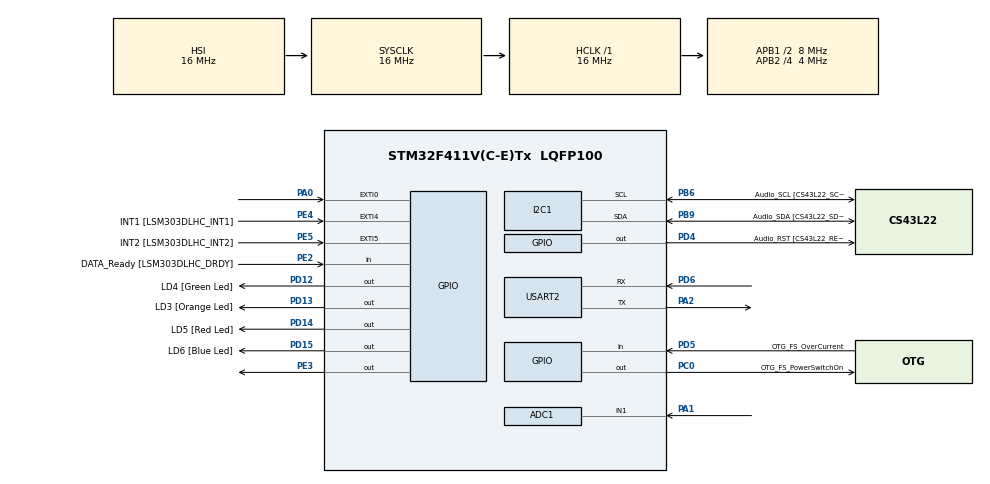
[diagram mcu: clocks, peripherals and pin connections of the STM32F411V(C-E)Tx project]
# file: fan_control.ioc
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ADC1.Channel-0\#ChannelRegularConversion=ADC_CHANNEL_1
ADC1.ContinuousConvMode=DISABLE
ADC1.NbrOfConversionFlag=1
ADC1.Rank-0\#ChannelRegularConversion=1
ADC1.SamplingTime-0\#ChannelRegularConversion=ADC_SAMPLETIME_3CYCLES
ADC1.master=1
Mcu.Family=STM32F4
Mcu.Name=STM32F411V(C-E)Tx
Mcu.Package=LQFP100
NVIC.ADC_IRQn=true\:0\:0\:false\:false\:true\:true\:true\:true
NVIC.PriorityGroup=NVIC_PRIORITYGROUP_0
PA0-WKUP.GPIO_ModeDefaultEXTI=GPIO_MODE_EVT_RISING
PA0-WKUP.Signal=GPXTI0
PA1.Signal=ADCx_IN1
PA10.GPIO_Label=OTG_FS_ID
PA10.Signal=USB_OTG_FS_ID
PA11.GPIO_Label=OTG_FS_DM
PA11.Signal=USB_OTG_FS_DM
PA12.GPIO_Label=OTG_FS_DP
PA12.Signal=USB_OTG_FS_DP
PA13.GPIO_Label=SWDIO
PA13.Mode=Serial_Wire
PA13.Signal=SYS_JTMS-SWDIO
PA14.GPIO_Label=SWCLK
PA14.Mode=Serial_Wire
PA14.Signal=SYS_JTCK-SWCLK
PA2.Mode=Asynchronous
PA2.Signal=USART2_TX
PA4.GPIO_Label=I2S3_WS [CS43L22_LRCK]
PA4.GPIO_Mode=GPIO_MODE_AF_PP
PA4.GPIO_PuPd=GPIO_NOPULL
PA4.GPIO_Speed=GPIO_SPEED_FREQ_LOW
PA4.Signal=I2S3_WS
PA5.GPIO_Label=SPI1_SCK [L3GD20_SC/SPC]
PA5.Signal=SPI1_SCK
PA6.GPIO_Label=SPI1_MISO [L3GD20_AS0/SDO]
PA6.Signal=SPI1_MISO
PA7.GPIO_Label=SPI1_MOSI [L3GD20_SDA/SDI/SDO]
PA7.Signal=SPI1_MOSI
PA9.GPIO_Label=VBUS_FS
PA9.Signal=USB_OTG_FS_VBUS
PB10.GPIO_Label=CLK_IN [MP45DT02_CLK]
PB10.Signal=I2S2_CK
PB12.Signal=I2S2_WS
PB3.GPIO_Label=SWO
PB3.Signal=SYS_JTDO-SWO
PB6.GPIO_Label=Audio_SCL [CS43L22_SCL]
PB6.GPIO_Mode=GPIO_MODE_AF_OD
PB6.GPIO_Pu=GPIO_PULLUP
PB6.GPIO_PuPd=GPIO_NOPULL
PB6.GPIO_Speed=GPIO_SPEED_FREQ_LOW
PB6.Mode=I2C
PB6.Signal=I2C1_SCL
PB9.GPIO_Label=Audio_SDA [CS43L22_SDA]
PB9.GPIO_Mode=GPIO_MODE_AF_OD
PB9.GPIO_Pu=GPIO_PULLUP
PB9.GPIO_PuPd=GPIO_NOPULL
PB9.GPIO_Speed=GPIO_SPEED_FREQ_LOW
PB9.Mode=I2C
PB9.Signal=I2C1_SDA
PC0.GPIO_Label=OTG_FS_PowerSwitchOn
PC0.PinState=GPIO_PIN_SET
PC0.Signal=GPIO_Output
PC10.GPIO_Label=I2S3_SCK [CS43L22_SCLK]
PC10.GPIO_Mode=GPIO_MODE_AF_PP
PC10.GPIO_PuPd=GPIO_NOPULL
PC10.GPIO_Speed=GPIO_SPEED_FREQ_LOW
PC10.Signal=I2S3_CK
PC12.GPIO_Label=I2S3_SD [CS43L22_SDIN]
PC12.GPIO_Mode=GPIO_MODE_AF_PP
PC12.GPIO_PuPd=GPIO_NOPULL
PC12.GPIO_Speed=GPIO_SPEED_FREQ_LOW
PC12.Signal=I2S3_SD
PC14-OSC32_IN.GPIO_Label=PC14-OSC32_IN
PC14-OSC32_IN.Mode=LSE-External-Oscillator
PC14-OSC32_IN.Signal=RCC_OSC32_IN
PC15-OSC32_OUT.GPIO_Label=PC15-OSC32_OUT
PC15-OSC32_OUT.Mode=LSE-External-Oscillator
PC15-OSC32_OUT.Signal=RCC_OSC32_OUT
PC3.GPIO_Label=PDM_OUT [MP45DT02_DOUT]
PC3.Signal=I2S2_SD
PC7.GPIO_Label=I2S3_MCK [CS43L22_MCLK]
PC7.GPIO_Mode=GPIO_MODE_AF_PP
PC7.GPIO_PuPd=GPIO_NOPULL
PC7.GPIO_Speed=GPIO_SPEED_FREQ_LOW
PC7.Signal=I2S3_MCK
PD12.GPIO_Label=LD4 [Green Led]
PD12.GPIO_PuPd=GPIO_NOPULL
PD12.GPIO_Speed=GPIO_SPEED_FREQ_LOW
PD12.Signal=GPIO_Output
PD13.GPIO_Label=LD3 [Orange Led]
PD13.GPIO_PuPd=GPIO_NOPULL
PD13.GPIO_Speed=GPIO_SPEED_FREQ_LOW
PD13.Signal=GPIO_Output
PD14.GPIO_Label=LD5 [Red Led]
PD14.GPIO_PuPd=GPIO_NOPULL
PD14.GPIO_Speed=GPIO_SPEED_FREQ_LOW
PD14.Signal=GPIO_Output
PD15.GPIO_Label=LD6 [Blue Led]
PD15.GPIO_PuPd=GPIO_NOPULL
PD15.GPIO_Speed=GPIO_SPEED_FREQ_LOW
PD15.Signal=GPIO_Output
PD4.GPIO_Label=Audio_RST [CS43L22_RESET]
PD4.Signal=GPIO_Output
PD5.GPIO_Label=OTG_FS_OverCurrent
PD5.Signal=GPIO_Input
PD6.Mode=Asynchronous
PD6.Signal=USART2_RX
PE2.GPIO_Label=DATA_Ready [LSM303DLHC_DRDY]
PE2.Signal=GPIO_Input
PE3.Signal=GPIO_Output
PE4.GPIO_Label=INT1 [LSM303DLHC_INT1]
PE4.GPIO_ModeDefaultEXTI=GPIO_MODE_EVT_RISING
PE4.Signal=GPXTI4
PE5.GPIO_Label=INT2 [LSM303DLHC_INT2]
PE5.GPIO_ModeDefaultEXTI=GPIO_MODE_EVT_RISING
PE5.Signal=GPXTI5
PH0\ -\ OSC_IN.GPIO_Label=PH0-OSC_IN
PH0\ -\ OSC_IN.Mode=HSE-External-Oscillator
PH0\ -\ OSC_IN.Signal=RCC_OSC_IN
PH1\ -\ OSC_OUT.GPIO_Label=PH1-OSC_OUT
PH1\ -\ OSC_OUT.Mode=HSE-External-Oscillator
PH1\ -\ OSC_OUT.Signal=RCC_OSC_OUT
ProjectManager.HeapSize=0x200
ProjectManager.StackSize=0x400
ProjectManager.TargetToolchain=STM32CubeIDE
RCC.48MHZClocksFreq_Value=48000000
RCC.AHBFreq_Value=16000000
RCC.APB1CLKDivider=RCC_HCLK_DIV2
RCC.APB1Freq_Value=8000000
RCC.APB1TimFreq_Value=16000000
RCC.APB2CLKDivider=RCC_HCLK_DIV4
RCC.APB2Freq_Value=4000000
RCC.APB2TimFreq_Value=8000000
RCC.CortexFreq_Value=16000000
RCC.HCLKFreq_Value=16000000
RCC.HSE_VALUE=8000000
RCC.HSI_VALUE=16000000
RCC.PLLI2SM=5
RCC.PLLI2SN=200
RCC.PLLM=4
RCC.PLLP=RCC_PLLP_DIV4
RCC.PLLQ=8
RCC.PLLSourceVirtual=RCC_PLLSOURCE_HSE
RCC.SYSCLKFreq_VALUE=16000000
RCC.VCOOutputFreq_Value=384000000
SH.ADCx_IN1.0=ADC1_IN1,IN1
USART2.VirtualMode=VM_ASYNC
board=STM32F411E-DISCO

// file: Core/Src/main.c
/* USER CODE BEGIN Header */
/**
  ******************************************************************************
  * @file           : main.c
  * @brief          : Main program body
  ******************************************************************************
  * @attention
  *
  * Copyright (c) 2025 STMicroelectronics.
  * All rights reserved.
  *
  * This software is licensed under terms that can be found in the LICENSE file
  * in the root directory of this software component.
  * If no LICENSE file comes with this software, it is provided AS-IS.
  *
  ******************************************************************************
  */
/* USER CODE END Header */
#include "main.h"

/* USER CODE BEGIN Includes */
#include <stdio.h>
#include <stdbool.h>
#include "fan_speed_controller.h"
/* USER CODE END Includes */

/* USER CODE BEGIN PM */
#define DRV10983_ADDR	(0x52 << 1)
#define SPEED_REG 		 0x12 //Just dummy register address
/* USER CODE END PM */

ADC_HandleTypeDef hadc1;

I2C_HandleTypeDef hi2c1;

UART_HandleTypeDef huart2;

/* USER CODE BEGIN PV */
uint16_t AD_RES = 0, adc_values[2];
uint8_t adc_flag = 0, speed = 0;
float adc_volt = 0, power = 0;;
float input_vac = 0, cs_voltage = 0;
uint8_t current_channel = 0;
float expected_power = 0;

/* USER CODE END PV */

void SystemClock_Config(void);
static void MX_GPIO_Init(void);
static void MX_USART2_UART_Init(void);
static void MX_ADC1_Init(void);
static void MX_I2C1_Init(void);
/* USER CODE BEGIN PFP */
#ifdef __GNUC__
#define PUTCHAR_PROTOTYPE int __io_putchar(int ch)
#else
#define PUTCHAR_PROTOTYPE int fputc(int ch, FILE *f)
#endif
PUTCHAR_PROTOTYPE
{
  HAL_UART_Transmit(&huart2, (uint8_t *)&ch, 1, HAL_MAX_DELAY);
  return ch;
}

void send_speed_in_i2c(uint8_t speed)
{
	//I'm just sending dummy data through I2C to a dummy slave and dummy register address because of unavailability of the motor driver module
	HAL_StatusTypeDef status = HAL_I2C_Mem_Write(&hi2c1, DRV10983_ADDR, SPEED_REG, 8, &speed, 1, HAL_MAX_DELAY);
    if (status != HAL_OK) {
        printf("[I2C]Failed to send speed %d to DRV10983 (no ACK)\n", speed);
    }
}
/* USER CODE END PFP */

int main(void)
{

  /* MCU Configuration--------------------------------------------------------*/

  /* Reset of all peripherals, Initializes the Flash interface and the Systick. */
  HAL_Init();

  /* Configure the system clock */
  SystemClock_Config();

  /* Initialize all configured peripherals */
  MX_GPIO_Init();
  MX_USART2_UART_Init();
  MX_ADC1_Init();
  MX_I2C1_Init();
  /* USER CODE BEGIN 2 */
  HAL_ADC_Start_IT(&hadc1);
  /* USER CODE END 2 */

  /* Infinite loop */
  /* USER CODE BEGIN WHILE */
  while (1)
  {
	  if(adc_flag == 1)
	  {
		  printf("The ADC voltage value is %f V\n", adc_volt);
		  printf("The converted AC voltage value is %f Vac\n", input_vac);
		  printf("The controller speed value is %u\n", speed);
		  printf("Expected power output from set speed is %f W\n", expected_power);
		  printf("The current sense voltage is %f V\n", cs_voltage);
		  printf("The mains supply power is %f W\n", power);
		  adc_flag = 0;
		  send_speed_in_i2c(speed);
		  HAL_ADC_Start_IT(&hadc1);
	  }
	  HAL_Delay(100);
    /* USER CODE END WHILE */

  }
}

void SystemClock_Config(void)
{
  RCC_OscInitTypeDef RCC_OscInitStruct = {0};
  RCC_ClkInitTypeDef RCC_ClkInitStruct = {0};

  /** Configure the main internal regulator output voltage
  */
  __HAL_RCC_PWR_CLK_ENABLE();
  __HAL_PWR_VOLTAGESCALING_CONFIG(PWR_REGULATOR_VOLTAGE_SCALE1);

  /** Initializes the RCC Oscillators according to the specified parameters
  * in the RCC_OscInitTypeDef structure.
  */
  RCC_OscInitStruct.OscillatorType = RCC_OSCILLATORTYPE_HSI;
  RCC_OscInitStruct.HSIState = RCC_HSI_ON;
  RCC_OscInitStruct.HSICalibrationValue = RCC_HSICALIBRATION_DEFAULT;
  RCC_OscInitStruct.PLL.PLLState = RCC_PLL_NONE;
  if (HAL_RCC_OscConfig(&RCC_OscInitStruct) != HAL_OK)
  {
    Error_Handler();
  }

  /** Initializes the CPU, AHB and APB buses clocks
  */
  RCC_ClkInitStruct.ClockType = RCC_CLOCKTYPE_HCLK|RCC_CLOCKTYPE_SYSCLK
                              |RCC_CLOCKTYPE_PCLK1|RCC_CLOCKTYPE_PCLK2;
  RCC_ClkInitStruct.SYSCLKSource = RCC_SYSCLKSOURCE_HSI;
  RCC_ClkInitStruct.AHBCLKDivider = RCC_SYSCLK_DIV1;
  RCC_ClkInitStruct.APB1CLKDivider = RCC_HCLK_DIV2;
  RCC_ClkInitStruct.APB2CLKDivider = RCC_HCLK_DIV4;

  if (HAL_RCC_ClockConfig(&RCC_ClkInitStruct, FLASH_LATENCY_0) != HAL_OK)
  {
    Error_Handler();
  }
}

static void MX_ADC1_Init(void)
{

  ADC_ChannelConfTypeDef sConfig = {0};

  /** Configure the global features of the ADC (Clock, Resolution, Data Alignment and number of conversion)
  */
  hadc1.Instance = ADC1;
  hadc1.Init.ClockPrescaler = ADC_CLOCK_SYNC_PCLK_DIV2;
  hadc1.Init.Resolution = ADC_RESOLUTION_12B;
  hadc1.Init.ScanConvMode = DISABLE;
  hadc1.Init.ContinuousConvMode = DISABLE;
  hadc1.Init.DiscontinuousConvMode = DISABLE;
  hadc1.Init.ExternalTrigConvEdge = ADC_EXTERNALTRIGCONVEDGE_NONE;
  hadc1.Init.ExternalTrigConv = ADC_SOFTWARE_START;
  hadc1.Init.DataAlign = ADC_DATAALIGN_RIGHT;
  hadc1.Init.NbrOfConversion = 1;
  hadc1.Init.DMAContinuousRequests = DISABLE;
  hadc1.Init.EOCSelection = ADC_EOC_SINGLE_CONV;
  if (HAL_ADC_Init(&hadc1) != HAL_OK)
  {
    Error_Handler();
  }

  /** Configure for the selected ADC regular channel its corresponding rank in the sequencer and its sample time.
  */
  sConfig.Channel = ADC_CHANNEL_1;
  sConfig.Rank = 1;
  sConfig.SamplingTime = ADC_SAMPLETIME_3CYCLES;
  if (HAL_ADC_ConfigChannel(&hadc1, &sConfig) != HAL_OK)
  {
    Error_Handler();
  }

}

static void MX_I2C1_Init(void)
{

  hi2c1.Instance = I2C1;
  hi2c1.Init.ClockSpeed = 100000;
  hi2c1.Init.DutyCycle = I2C_DUTYCYCLE_2;
  hi2c1.Init.OwnAddress1 = 0;
  hi2c1.Init.AddressingMode = I2C_ADDRESSINGMODE_7BIT;
  hi2c1.Init.DualAddressMode = I2C_DUALADDRESS_DISABLE;
  hi2c1.Init.OwnAddress2 = 0;
  hi2c1.Init.GeneralCallMode = I2C_GENERALCALL_DISABLE;
  hi2c1.Init.NoStretchMode = I2C_NOSTRETCH_DISABLE;
  if (HAL_I2C_Init(&hi2c1) != HAL_OK)
  {
    Error_Handler();
  }

}

static void MX_USART2_UART_Init(void)
{

  huart2.Instance = USART2;
  huart2.Init.BaudRate = 115200;
  huart2.Init.WordLength = UART_WORDLENGTH_8B;
  huart2.Init.StopBits = UART_STOPBITS_1;
  huart2.Init.Parity = UART_PARITY_NONE;
  huart2.Init.Mode = UART_MODE_TX_RX;
  huart2.Init.HwFlowCtl = UART_HWCONTROL_NONE;
  huart2.Init.OverSampling = UART_OVERSAMPLING_16;
  if (HAL_UART_Init(&huart2) != HAL_OK)
  {
    Error_Handler();
  }

}

static void MX_GPIO_Init(void)
{
  GPIO_InitTypeDef GPIO_InitStruct = {0};

  /* GPIO Ports Clock Enable */
  __HAL_RCC_GPIOE_CLK_ENABLE();
  __HAL_RCC_GPIOC_CLK_ENABLE();
  __HAL_RCC_GPIOH_CLK_ENABLE();
  __HAL_RCC_GPIOA_CLK_ENABLE();
  __HAL_RCC_GPIOB_CLK_ENABLE();
  __HAL_RCC_GPIOD_CLK_ENABLE();

  /*Configure GPIO pin Output Level */
  HAL_GPIO_WritePin(GPIOE, GPIO_PIN_3, GPIO_PIN_RESET);

  /*Configure GPIO pin Output Level */
  HAL_GPIO_WritePin(OTG_FS_PowerSwitchOn_GPIO_Port, OTG_FS_PowerSwitchOn_Pin, GPIO_PIN_SET);

  /*Configure GPIO pin Output Level */
  HAL_GPIO_WritePin(GPIOD, LD4_Pin|LD3_Pin|LD5_Pin|LD6_Pin
                          |Audio_RST_Pin, GPIO_PIN_RESET);

  /*Configure GPIO pin : DATA_Ready_Pin */
  GPIO_InitStruct.Pin = DATA_Ready_Pin;
  GPIO_InitStruct.Mode = GPIO_MODE_INPUT;
  GPIO_InitStruct.Pull = GPIO_NOPULL;
  HAL_GPIO_Init(DATA_Ready_GPIO_Port, &GPIO_InitStruct);

  /*Configure GPIO pin : PE3 */
  GPIO_InitStruct.Pin = GPIO_PIN_3;
  GPIO_InitStruct.Mode = GPIO_MODE_OUTPUT_PP;
  GPIO_InitStruct.Pull = GPIO_NOPULL;
  GPIO_InitStruct.Speed = GPIO_SPEED_FREQ_LOW;
  HAL_GPIO_Init(GPIOE, &GPIO_InitStruct);

  /*Configure GPIO pins : INT1_Pin INT2_Pin */
  GPIO_InitStruct.Pin = INT1_Pin|INT2_Pin;
  GPIO_InitStruct.Mode = GPIO_MODE_EVT_RISING;
  GPIO_InitStruct.Pull = GPIO_NOPULL;
  HAL_GPIO_Init(GPIOE, &GPIO_InitStruct);

  /*Configure GPIO pin : OTG_FS_PowerSwitchOn_Pin */
  GPIO_InitStruct.Pin = OTG_FS_PowerSwitchOn_Pin;
  GPIO_InitStruct.Mode = GPIO_MODE_OUTPUT_PP;
  GPIO_InitStruct.Pull = GPIO_NOPULL;
  GPIO_InitStruct.Speed = GPIO_SPEED_FREQ_LOW;
  HAL_GPIO_Init(OTG_FS_PowerSwitchOn_GPIO_Port, &GPIO_InitStruct);

  /*Configure GPIO pin : PDM_OUT_Pin */
  GPIO_InitStruct.Pin = PDM_OUT_Pin;
  GPIO_InitStruct.Mode = GPIO_MODE_AF_PP;
  GPIO_InitStruct.Pull = GPIO_NOPULL;
  GPIO_InitStruct.Speed = GPIO_SPEED_FREQ_LOW;
  GPIO_InitStruct.Alternate = GPIO_AF5_SPI2;
  HAL_GPIO_Init(PDM_OUT_GPIO_Port, &GPIO_InitStruct);

  /*Configure GPIO pin : PA0 */
  GPIO_InitStruct.Pin = GPIO_PIN_0;
  GPIO_InitStruct.Mode = GPIO_MODE_EVT_RISING;
  GPIO_InitStruct.Pull = GPIO_NOPULL;
  HAL_GPIO_Init(GPIOA, &GPIO_InitStruct);

  /*Configure GPIO pin : I2S3_WS_Pin */
  GPIO_InitStruct.Pin = I2S3_WS_Pin;
  GPIO_InitStruct.Mode = GPIO_MODE_AF_PP;
  GPIO_InitStruct.Pull = GPIO_NOPULL;
  GPIO_InitStruct.Speed = GPIO_SPEED_FREQ_LOW;
  GPIO_InitStruct.Alternate = GPIO_AF6_SPI3;
  HAL_GPIO_Init(I2S3_WS_GPIO_Port, &GPIO_InitStruct);

  /*Configure GPIO pins : SPI1_SCK_Pin SPI1_MISO_Pin SPI1_MOSI_Pin */
  GPIO_InitStruct.Pin = SPI1_SCK_Pin|SPI1_MISO_Pin|SPI1_MOSI_Pin;
  GPIO_InitStruct.Mode = GPIO_MODE_AF_PP;
  GPIO_InitStruct.Pull = GPIO_NOPULL;
  GPIO_InitStruct.Speed = GPIO_SPEED_FREQ_VERY_HIGH;
  GPIO_InitStruct.Alternate = GPIO_AF5_SPI1;
  HAL_GPIO_Init(GPIOA, &GPIO_InitStruct);

  /*Configure GPIO pins : CLK_IN_Pin PB12 */
  GPIO_InitStruct.Pin = CLK_IN_Pin|GPIO_PIN_12;
  GPIO_InitStruct.Mode = GPIO_MODE_AF_PP;
  GPIO_InitStruct.Pull = GPIO_NOPULL;
  GPIO_InitStruct.Speed = GPIO_SPEED_FREQ_LOW;
  GPIO_InitStruct.Alternate = GPIO_AF5_SPI2;
  HAL_GPIO_Init(GPIOB, &GPIO_InitStruct);

  /*Configure GPIO pins : LD4_Pin LD3_Pin LD5_Pin LD6_Pin
                           Audio_RST_Pin */
  GPIO_InitStruct.Pin = LD4_Pin|LD3_Pin|LD5_Pin|LD6_Pin
                          |Audio_RST_Pin;
  GPIO_InitStruct.Mode = GPIO_MODE_OUTPUT_PP;
  GPIO_InitStruct.Pull = GPIO_NOPULL;
  GPIO_InitStruct.Speed = GPIO_SPEED_FREQ_LOW;
  HAL_GPIO_Init(GPIOD, &GPIO_InitStruct);

  /*Configure GPIO pins : I2S3_MCK_Pin I2S3_SCK_Pin I2S3_SD_Pin */
  GPIO_InitStruct.Pin = I2S3_MCK_Pin|I2S3_SCK_Pin|I2S3_SD_Pin;
  GPIO_InitStruct.Mode = GPIO_MODE_AF_PP;
  GPIO_InitStruct.Pull = GPIO_NOPULL;
  GPIO_InitStruct.Speed = GPIO_SPEED_FREQ_LOW;
  GPIO_InitStruct.Alternate = GPIO_AF6_SPI3;
  HAL_GPIO_Init(GPIOC, &GPIO_InitStruct);

  /*Configure GPIO pin : VBUS_FS_Pin */
  GPIO_InitStruct.Pin = VBUS_FS_Pin;
  GPIO_InitStruct.Mode = GPIO_MODE_INPUT;
  GPIO_InitStruct.Pull = GPIO_NOPULL;
  HAL_GPIO_Init(VBUS_FS_GPIO_Port, &GPIO_InitStruct);

  /*Configure GPIO pins : OTG_FS_ID_Pin OTG_FS_DM_Pin OTG_FS_DP_Pin */
  GPIO_InitStruct.Pin = OTG_FS_ID_Pin|OTG_FS_DM_Pin|OTG_FS_DP_Pin;
  GPIO_InitStruct.Mode = GPIO_MODE_AF_PP;
  GPIO_InitStruct.Pull = GPIO_NOPULL;
  GPIO_InitStruct.Speed = GPIO_SPEED_FREQ_VERY_HIGH;
  GPIO_InitStruct.Alternate = GPIO_AF10_OTG_FS;
  HAL_GPIO_Init(GPIOA, &GPIO_InitStruct);

  /*Configure GPIO pin : OTG_FS_OverCurrent_Pin */
  GPIO_InitStruct.Pin = OTG_FS_OverCurrent_Pin;
  GPIO_InitStruct.Mode = GPIO_MODE_INPUT;
  GPIO_InitStruct.Pull = GPIO_NOPULL;
  HAL_GPIO_Init(OTG_FS_OverCurrent_GPIO_Port, &GPIO_InitStruct);

}

/* USER CODE BEGIN 4 */
void HAL_ADC_ConvCpltCallback(ADC_HandleTypeDef* hadc)
{
    FanSpeedController_ProcessConversion(
        hadc,
        &AD_RES,
        &adc_flag,
        &adc_volt,
        &input_vac,
        &speed,
        &cs_voltage,
        &power,
        &expected_power);
}
/* USER CODE END 4 */

void Error_Handler(void)
{
  __disable_irq();
  while (1)
  {
  }
}
